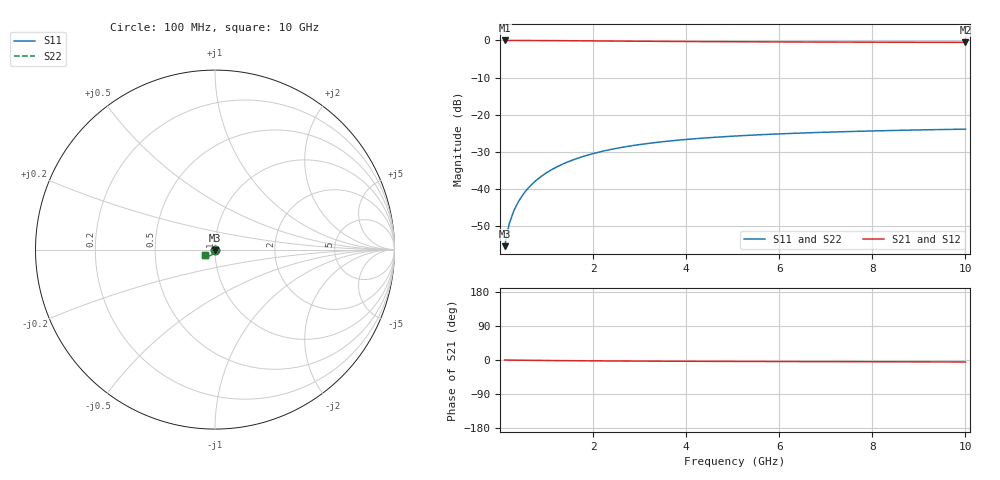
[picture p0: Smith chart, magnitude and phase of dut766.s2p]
! Touchstone file exported from HFSS 2024.1.0
!  File:  C:/UserFiles/LocalFiles/RDL_TSV_Batchsim/temp_TSV1_766_1779873032.aedt
!  Generated:  05:14:36 PM May 27, 2026
!  Design:  TSV1
!  Project:  temp_TSV1_766_1779873032
!  Setup:  Setup1
!  Solution:  Sweep
! Variables:
!  dtsv = 13.79um
!  hbump = 3um
!  htsv = 77.05um
!  lrdl = 252.1521522um
!  p = 40
!  p1 = 43.79um
!  t = 500um
!  trdl = 3um
!  wrdl = 24.89489489um
# GHz S MA R 50.000000
! Terminal data exported
! Port[1] = TSV22_T1
! Port[2] = TSV22_T2
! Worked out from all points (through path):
!   100 points, 100 MHz to 10 GHz, reference 50 ohm
!   highest |S21| = 0.00 dB at 100 MHz (marker M1); lowest = -0.5 dB at 10 GHz (marker M2)
!   lowest |S11| = -55.3 dB at 100 MHz (marker M3), VSWR 1.00, Z = 50 - j0.172 ohm
!   |S11| at or under -10 dB: start of sweep to end of sweep
!   |S22| runs from -55.3 to -23.8 dB; largest |S21 - S12| = 7.5e-15
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0.1  0.001719 -88.7  0.9999 -0.1  0.9999 -0.1  0.001719 -88.7
! Gamma 0 0 0 0
! Port Impedance 50 0 50 0
0.2  0.003453 -91.7  0.9997 -0.3  0.9997 -0.3  0.003453 -91.7
0.3  0.005175 -93.7  0.9995 -0.4  0.9995 -0.4  0.005175 -93.7
0.4  0.006883 -95.4  0.9992 -0.5  0.9992 -0.5  0.006883 -95.4
0.5  0.008574 -97.1  0.9987 -0.7  0.9987 -0.7  0.008574 -97.1
0.6  0.01024 -98.7  0.9982 -0.8  0.9982 -0.8  0.01024 -98.7
0.7  0.01189 -100.2  0.9977 -0.9  0.9977 -0.9  0.01189 -100.2
0.8  0.01351 -101.7  0.997 -1.0  0.997 -1.0  0.01351 -101.7
0.9  0.0151 -103.2  0.9963 -1.2  0.9963 -1.2  0.0151 -103.2
1.1  0.01818 -106.0  0.9947 -1.4  0.9947 -1.4  0.01818 -106.0
1.4  0.02252 -110.0  0.992 -1.7  0.992 -1.7  0.02252 -110.0
1.6  0.02522 -112.6  0.9901 -1.9  0.9901 -1.9  0.02522 -112.6
1.8  0.02776 -115.0  0.9881 -2.1  0.9881 -2.1  0.02776 -115.0
2.1  0.03127 -118.3  0.9851 -2.3  0.9851 -2.3  0.03127 -118.3
2.5  0.03542 -122.4  0.9811 -2.6  0.9811 -2.6  0.03542 -122.4
2.9  0.03902 -126.0  0.9773 -2.8  0.9773 -2.8  0.03902 -126.0
3.4  0.04286 -129.9  0.9728 -3.1  0.9728 -3.1  0.04286 -129.9
4.2  0.04782 -135.1  0.9666 -3.4  0.9666 -3.4  0.04782 -135.1
5.1  0.05211 -139.7  0.9607 -3.8  0.9607 -3.8  0.05211 -139.7
6.7  0.0576 -145.8  0.9528 -4.2  0.9528 -4.2  0.0576 -145.8
8.4  0.06159 -150.4  0.9469 -4.7  0.9469 -4.7  0.06159 -150.4
10  0.06426 -153.7  0.9429 -5.2  0.9429 -5.2  0.06426 -153.7
